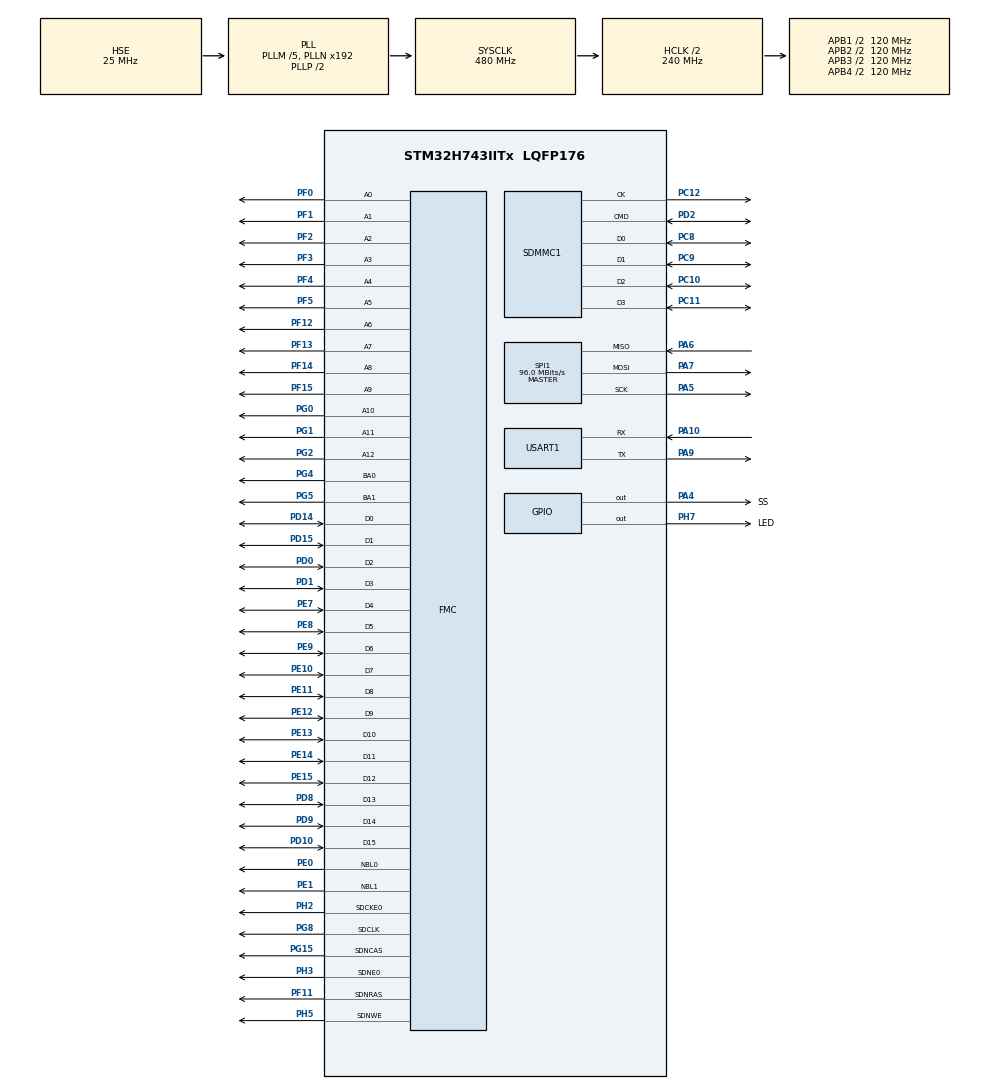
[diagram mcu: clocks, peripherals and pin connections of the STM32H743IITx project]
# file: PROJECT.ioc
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CORTEX_M7.CPU_DCache=Enabled
CORTEX_M7.CPU_ICache=Enabled
CORTEX_M7.MPU_Control=MPU_PRIVILEGED_DEFAULT
Dma.Request0=USART1_RX
Dma.Request1=USART1_TX
Dma.Request2=SPI1_RX
Dma.Request3=SPI1_TX
Dma.SPI1_RX.2.Direction=DMA_PERIPH_TO_MEMORY
Dma.SPI1_RX.2.EventEnable=DISABLE
Dma.SPI1_RX.2.FIFOMode=DMA_FIFOMODE_DISABLE
Dma.SPI1_RX.2.Instance=DMA1_Stream2
Dma.SPI1_RX.2.MemDataAlignment=DMA_MDATAALIGN_BYTE
Dma.SPI1_RX.2.MemInc=DMA_MINC_ENABLE
Dma.SPI1_RX.2.Mode=DMA_NORMAL
Dma.SPI1_RX.2.PeriphDataAlignment=DMA_PDATAALIGN_BYTE
Dma.SPI1_RX.2.PeriphInc=DMA_PINC_DISABLE
Dma.SPI1_RX.2.Polarity=HAL_DMAMUX_REQ_GEN_RISING
Dma.SPI1_RX.2.Priority=DMA_PRIORITY_LOW
Dma.SPI1_RX.2.RequestNumber=1
Dma.SPI1_RX.2.SignalID=NONE
Dma.SPI1_RX.2.SyncEnable=DISABLE
Dma.SPI1_RX.2.SyncPolarity=HAL_DMAMUX_SYNC_NO_EVENT
Dma.SPI1_RX.2.SyncRequestNumber=1
Dma.SPI1_RX.2.SyncSignalID=NONE
Dma.SPI1_TX.3.Direction=DMA_MEMORY_TO_PERIPH
Dma.SPI1_TX.3.EventEnable=DISABLE
Dma.SPI1_TX.3.FIFOMode=DMA_FIFOMODE_DISABLE
Dma.SPI1_TX.3.Instance=DMA1_Stream3
Dma.SPI1_TX.3.MemDataAlignment=DMA_MDATAALIGN_BYTE
Dma.SPI1_TX.3.MemInc=DMA_MINC_ENABLE
Dma.SPI1_TX.3.Mode=DMA_NORMAL
Dma.SPI1_TX.3.PeriphDataAlignment=DMA_PDATAALIGN_BYTE
Dma.SPI1_TX.3.PeriphInc=DMA_PINC_DISABLE
Dma.SPI1_TX.3.Polarity=HAL_DMAMUX_REQ_GEN_RISING
Dma.SPI1_TX.3.Priority=DMA_PRIORITY_LOW
Dma.SPI1_TX.3.RequestNumber=1
Dma.SPI1_TX.3.SignalID=NONE
Dma.SPI1_TX.3.SyncEnable=DISABLE
Dma.SPI1_TX.3.SyncPolarity=HAL_DMAMUX_SYNC_NO_EVENT
Dma.SPI1_TX.3.SyncRequestNumber=1
Dma.SPI1_TX.3.SyncSignalID=NONE
Dma.USART1_RX.0.Direction=DMA_PERIPH_TO_MEMORY
Dma.USART1_RX.0.EventEnable=DISABLE
Dma.USART1_RX.0.FIFOMode=DMA_FIFOMODE_DISABLE
Dma.USART1_RX.0.Instance=DMA1_Stream0
Dma.USART1_RX.0.MemDataAlignment=DMA_MDATAALIGN_BYTE
Dma.USART1_RX.0.MemInc=DMA_MINC_ENABLE
Dma.USART1_RX.0.Mode=DMA_NORMAL
Dma.USART1_RX.0.PeriphDataAlignment=DMA_PDATAALIGN_BYTE
Dma.USART1_RX.0.PeriphInc=DMA_PINC_DISABLE
Dma.USART1_RX.0.Polarity=HAL_DMAMUX_REQ_GEN_RISING
Dma.USART1_RX.0.Priority=DMA_PRIORITY_LOW
Dma.USART1_RX.0.RequestNumber=1
Dma.USART1_RX.0.SignalID=NONE
Dma.USART1_RX.0.SyncEnable=DISABLE
Dma.USART1_RX.0.SyncPolarity=HAL_DMAMUX_SYNC_NO_EVENT
Dma.USART1_RX.0.SyncRequestNumber=1
Dma.USART1_RX.0.SyncSignalID=NONE
Dma.USART1_TX.1.Direction=DMA_MEMORY_TO_PERIPH
Dma.USART1_TX.1.EventEnable=DISABLE
Dma.USART1_TX.1.FIFOMode=DMA_FIFOMODE_DISABLE
Dma.USART1_TX.1.Instance=DMA1_Stream1
Dma.USART1_TX.1.MemDataAlignment=DMA_MDATAALIGN_BYTE
Dma.USART1_TX.1.MemInc=DMA_MINC_ENABLE
Dma.USART1_TX.1.Mode=DMA_NORMAL
Dma.USART1_TX.1.PeriphDataAlignment=DMA_PDATAALIGN_BYTE
Dma.USART1_TX.1.PeriphInc=DMA_PINC_DISABLE
Dma.USART1_TX.1.Polarity=HAL_DMAMUX_REQ_GEN_RISING
Dma.USART1_TX.1.Priority=DMA_PRIORITY_LOW
Dma.USART1_TX.1.RequestNumber=1
Dma.USART1_TX.1.SignalID=NONE
Dma.USART1_TX.1.SyncEnable=DISABLE
Dma.USART1_TX.1.SyncPolarity=HAL_DMAMUX_SYNC_NO_EVENT
Dma.USART1_TX.1.SyncRequestNumber=1
Dma.USART1_TX.1.SyncSignalID=NONE
FATFS.USE_DMA_CODE_SD=1
FATFS._CODE_PAGE=437
FATFS._USE_LFN=2
FMC.CASLatency1=FMC_SDRAM_CAS_LATENCY_3
FMC.ColumnBitsNumber1=FMC_SDRAM_COLUMN_BITS_NUM_9
FMC.ExitSelfRefreshDelay1=9
FMC.LoadToActiveDelay1=1
FMC.RCDDelay1=3
FMC.RPDelay1=3
FMC.ReadBurst1=FMC_SDRAM_RBURST_ENABLE
FMC.RowCycleDelay1=8
FMC.SDClockPeriod1=FMC_SDRAM_CLOCK_PERIOD_2
FMC.SelfRefreshTime1=6
FMC.WriteRecoveryTime1=3
Mcu.Family=STM32H7
Mcu.Name=STM32H743IITx
Mcu.Package=LQFP176
Mdma.MDMA_Channel0.Request0=SDMMC1_END_DATA
Mdma.MDMA_Channel0.RequestsNb=1
Mdma.MDMA_Channel0.SDMMC1_END_DATA.0.BlockCount=0
Mdma.MDMA_Channel0.SDMMC1_END_DATA.0.BlockDataLength=0
Mdma.MDMA_Channel0.SDMMC1_END_DATA.0.BufferTransferLength=1
Mdma.MDMA_Channel0.SDMMC1_END_DATA.0.CircularMode=MDMA_LINEAR_LIST
Mdma.MDMA_Channel0.SDMMC1_END_DATA.0.DataAlignment=MDMA_DATAALIGN_PACKENABLE
Mdma.MDMA_Channel0.SDMMC1_END_DATA.0.DestBlockAddressOffset=0
Mdma.MDMA_Channel0.SDMMC1_END_DATA.0.DestBurst=MDMA_DEST_BURST_SINGLE
Mdma.MDMA_Channel0.SDMMC1_END_DATA.0.DestDataSize=MDMA_DEST_DATASIZE_BYTE
Mdma.MDMA_Channel0.SDMMC1_END_DATA.0.DestinationInc=MDMA_DEST_INC_BYTE
Mdma.MDMA_Channel0.SDMMC1_END_DATA.0.DstAddress=0
Mdma.MDMA_Channel0.SDMMC1_END_DATA.0.Endianness=MDMA_LITTLE_ENDIANNESS_PRESERVE
Mdma.MDMA_Channel0.SDMMC1_END_DATA.0.Instance=MDMA_Channel0
Mdma.MDMA_Channel0.SDMMC1_END_DATA.0.MaskAddress=0
Mdma.MDMA_Channel0.SDMMC1_END_DATA.0.MaskData=0
Mdma.MDMA_Channel0.SDMMC1_END_DATA.0.Priority=MDMA_PRIORITY_LOW
Mdma.MDMA_Channel0.SDMMC1_END_DATA.0.Rank=First
Mdma.MDMA_Channel0.SDMMC1_END_DATA.0.SourceBlockAddressOffset=0
Mdma.MDMA_Channel0.SDMMC1_END_DATA.0.SourceBurst=MDMA_SOURCE_BURST_SINGLE
Mdma.MDMA_Channel0.SDMMC1_END_DATA.0.SourceDataSize=MDMA_SRC_DATASIZE_BYTE
Mdma.MDMA_Channel0.SDMMC1_END_DATA.0.SourceInc=MDMA_SRC_INC_BYTE
Mdma.MDMA_Channel0.SDMMC1_END_DATA.0.SrcAddress=0
Mdma.MDMA_Channel0.SDMMC1_END_DATA.0.TransferTriggerMode=MDMA_BUFFER_TRANSFER
Mdma.RequestSet0=MDMA_Channel0
Mdma.RequestSetsNb=1
NVIC.DMA1_Stream0_IRQn=true\:0\:0\:false\:false\:true\:false\:true\:true
NVIC.DMA1_Stream1_IRQn=true\:0\:0\:false\:false\:true\:false\:true\:true
NVIC.DMA1_Stream2_IRQn=true\:0\:0\:false\:false\:true\:false\:true\:true
NVIC.DMA1_Stream3_IRQn=true\:0\:0\:false\:false\:true\:false\:true\:true
NVIC.MDMA_IRQn=true\:0\:0\:false\:false\:true\:true\:true\:true
NVIC.PriorityGroup=NVIC_PRIORITYGROUP_4
NVIC.SDMMC1_IRQn=true\:0\:0\:false\:false\:true\:true\:true\:true
NVIC.SPI1_IRQn=true\:0\:0\:false\:false\:true\:false\:true\:true
NVIC.USART1_IRQn=true\:0\:0\:false\:false\:true\:true\:true\:true
PA10.Mode=Asynchronous
PA10.Signal=USART1_RX
PA13\ (JTMS/SWDIO).Mode=Serial_Wire
PA13\ (JTMS/SWDIO).Signal=DEBUG_JTMS-SWDIO
PA14\ (JTCK/SWCLK).Mode=Serial_Wire
PA14\ (JTCK/SWCLK).Signal=DEBUG_JTCK-SWCLK
PA4.GPIO_Label=SS
PA4.Signal=GPIO_Output
PA5.GPIO_Speed=GPIO_SPEED_FREQ_VERY_HIGH
PA5.Mode=Full_Duplex_Master
PA5.Signal=SPI1_SCK
PA6.GPIO_Speed=GPIO_SPEED_FREQ_VERY_HIGH
PA6.Mode=Full_Duplex_Master
PA6.Signal=SPI1_MISO
PA7.GPIO_Speed=GPIO_SPEED_FREQ_VERY_HIGH
PA7.Mode=Full_Duplex_Master
PA7.Signal=SPI1_MOSI
PA9.Mode=Asynchronous
PA9.Signal=USART1_TX
PC10.Mode=SD_4_bits_Wide_bus
PC10.Signal=SDMMC1_D2
PC11.Mode=SD_4_bits_Wide_bus
PC11.Signal=SDMMC1_D3
PC12.Mode=SD_4_bits_Wide_bus
PC12.Signal=SDMMC1_CK
PC14-OSC32_IN\ (OSC32_IN).Mode=LSE-External-Oscillator
PC14-OSC32_IN\ (OSC32_IN).Signal=RCC_OSC32_IN
PC15-OSC32_OUT\ (OSC32_OUT).Mode=LSE-External-Oscillator
PC15-OSC32_OUT\ (OSC32_OUT).Signal=RCC_OSC32_OUT
PC8.Mode=SD_4_bits_Wide_bus
PC8.Signal=SDMMC1_D0
PC9.Mode=SD_4_bits_Wide_bus
PC9.Signal=SDMMC1_D1
PD0.Signal=FMC_D2_DA2
PD1.Signal=FMC_D3_DA3
PD10.Signal=FMC_D15_DA15
PD14.Signal=FMC_D0_DA0
PD15.Signal=FMC_D1_DA1
PD2.Mode=SD_4_bits_Wide_bus
PD2.Signal=SDMMC1_CMD
PD8.Signal=FMC_D13_DA13
PD9.Signal=FMC_D14_DA14
PE0.Signal=FMC_NBL0
PE1.Signal=FMC_NBL1
PE10.Signal=FMC_D7_DA7
PE11.Signal=FMC_D8_DA8
PE12.Signal=FMC_D9_DA9
PE13.Signal=FMC_D10_DA10
PE14.Signal=FMC_D11_DA11
PE15.Signal=FMC_D12_DA12
PE7.Signal=FMC_D4_DA4
PE8.Signal=FMC_D5_DA5
PE9.Signal=FMC_D6_DA6
PF0.Signal=FMC_A0
PF1.Signal=FMC_A1
PF11.Signal=FMC_SDNRAS
PF12.Signal=FMC_A6
PF13.Signal=FMC_A7
PF14.Signal=FMC_A8
PF15.Signal=FMC_A9
PF2.Signal=FMC_A2
PF3.Signal=FMC_A3
PF4.Signal=FMC_A4
PF5.Signal=FMC_A5
PG0.Signal=FMC_A10
PG1.Signal=FMC_A11
PG15.Signal=FMC_SDNCAS
PG2.Signal=FMC_A12
PG4.Signal=FMC_A14_BA0
PG5.Signal=FMC_A15_BA1
PG8.Signal=FMC_SDCLK
PH0-OSC_IN\ (PH0).Mode=HSE-External-Oscillator
PH0-OSC_IN\ (PH0).Signal=RCC_OSC_IN
PH1-OSC_OUT\ (PH1).Mode=HSE-External-Oscillator
PH1-OSC_OUT\ (PH1).Signal=RCC_OSC_OUT
PH2.Mode=SdramChipSelect1_1
PH2.Signal=FMC_SDCKE0
PH3.Mode=SdramChipSelect1_1
PH3.Signal=FMC_SDNE0
PH5.Signal=FMC_SDNWE
PH7.GPIO_Label=LED
PH7.GPIO_PuPd=GPIO_PULLUP
PH7.GPIO_Speed=GPIO_SPEED_FREQ_HIGH
PH7.Signal=GPIO_Output
ProjectManager.HeapSize=0x2000
ProjectManager.StackSize=0x2000
ProjectManager.TargetToolchain=MDK-ARM V5.32
RCC.ADCFreq_Value=50390625
RCC.APB1Freq_Value=120000000
RCC.APB2Freq_Value=120000000
RCC.APB3Freq_Value=120000000
RCC.APB4Freq_Value=120000000
RCC.CortexFreq_Value=480000000
RCC.D1PPRE=RCC_APB3_DIV2
RCC.D2PPRE1=RCC_APB1_DIV2
RCC.D2PPRE2=RCC_APB2_DIV2
RCC.D3PPRE=RCC_APB4_DIV2
RCC.DIVM1=5
RCC.DIVN1=192
RCC.DIVQ1=5
RCC.HCLKFreq_Value=240000000
RCC.HPRE=RCC_HCLK_DIV2
RCC.PLL2FRACN=0
RCC.PLL3FRACN=0
RCC.PLLFRACN=0
RCC.PLLSourceVirtual=RCC_PLLSOURCE_HSE
RCC.SYSCLKFreq_VALUE=480000000
RCC.SYSCLKSource=RCC_SYSCLKSOURCE_PLLCLK
RCC.USBFreq_Value=192000000
SDMMC1.ClockDiv=2
SH.FMC_A0.0=FMC_A0,13b-sda1
SH.FMC_A1.0=FMC_A1,13b-sda1
SH.FMC_A10.0=FMC_A10,13b-sda1
SH.FMC_A11.0=FMC_A11,13b-sda1
SH.FMC_A12.0=FMC_A12,13b-sda1
SH.FMC_A14_BA0.0=FMC_BA0,FourSdramBanks1
SH.FMC_A15_BA1.0=FMC_BA1,FourSdramBanks1
SH.FMC_A2.0=FMC_A2,13b-sda1
SH.FMC_A3.0=FMC_A3,13b-sda1
SH.FMC_A4.0=FMC_A4,13b-sda1
SH.FMC_A5.0=FMC_A5,13b-sda1
SH.FMC_A6.0=FMC_A6,13b-sda1
SH.FMC_A7.0=FMC_A7,13b-sda1
SH.FMC_A8.0=FMC_A8,13b-sda1
SH.FMC_A9.0=FMC_A9,13b-sda1
SH.FMC_D0_DA0.0=FMC_D0,sd-16b-d1
SH.FMC_D10_DA10.0=FMC_D10,sd-16b-d1
SH.FMC_D11_DA11.0=FMC_D11,sd-16b-d1
SH.FMC_D12_DA12.0=FMC_D12,sd-16b-d1
SH.FMC_D13_DA13.0=FMC_D13,sd-16b-d1
SH.FMC_D14_DA14.0=FMC_D14,sd-16b-d1
SH.FMC_D15_DA15.0=FMC_D15,sd-16b-d1
SH.FMC_D1_DA1.0=FMC_D1,sd-16b-d1
SH.FMC_D2_DA2.0=FMC_D2,sd-16b-d1
SH.FMC_D3_DA3.0=FMC_D3,sd-16b-d1
SH.FMC_D4_DA4.0=FMC_D4,sd-16b-d1
SH.FMC_D5_DA5.0=FMC_D5,sd-16b-d1
SH.FMC_D6_DA6.0=FMC_D6,sd-16b-d1
SH.FMC_D7_DA7.0=FMC_D7,sd-16b-d1
SH.FMC_D8_DA8.0=FMC_D8,sd-16b-d1
SH.FMC_D9_DA9.0=FMC_D9,sd-16b-d1
SH.FMC_NBL0.0=FMC_NBL0,Sd2ByteEnable1
SH.FMC_NBL1.0=FMC_NBL1,Sd2ByteEnable1
SH.FMC_SDCLK.0=FMC_SDCLK,13b-sda1
SH.FMC_SDNCAS.0=FMC_SDNCAS,13b-sda1
SH.FMC_SDNRAS.0=FMC_SDNRAS,13b-sda1
SH.FMC_SDNWE.0=FMC_SDNWE,13b-sda1
SPI1.CalculateBaudRate=96.0 MBits/s
SPI1.DataSize=SPI_DATASIZE_8BIT
SPI1.Direction=SPI_DIRECTION_2LINES
SPI1.Mode=SPI_MODE_MASTER
SPI1.VirtualType=VM_MASTER
USART1.VirtualMode-Asynchronous=VM_ASYNC
VP_FATFS_VS_SDIO.Mode=SDIO
VP_RTC_VS_RTC_Activate.Mode=RTC_Enabled
VP_RTC_VS_RTC_Calendar.Mode=RTC_Calendar
board=custom

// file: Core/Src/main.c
/* USER CODE BEGIN Header */
/**
 ******************************************************************************
 * @file           : main.c
 * @brief          : Main program body
 ******************************************************************************
 * @attention
 *
 * Copyright (c) 2024 STMicroelectronics.
 * All rights reserved.
 *
 * This software is licensed under terms that can be found in the LICENSE file
 * in the root directory of this software component.
 * If no LICENSE file comes with this software, it is provided AS-IS.
 *
 ******************************************************************************
 */
/* USER CODE END Header */
#include "main.h"
#include "dma.h"
#include "fatfs.h"
#include "mdma.h"
#include "rtc.h"
#include "sdmmc.h"
#include "spi.h"
#include "usart.h"
#include "gpio.h"
#include "fmc.h"

/* USER CODE BEGIN Includes */
#include "bsp_init.h"
#include "ADXL362.h"
#include <stdlib.h>

/* USER CODE END Includes */

/* USER CODE BEGIN PD */
#define UART_TX_BUFFER_SIZE  7
/* USER CODE END PD */

/* USER CODE BEGIN PV */
extern SPI_HandleTypeDef hspi1;
extern DMA_HandleTypeDef hdma_spi1_rx;
extern DMA_HandleTypeDef hdma_spi1_tx;

/// Flag indicating successful data transmission via SPI (transmission complete). Declared in the file ADXL362.c
extern bool spiTxComplete;
/// Flag indicating successful data reception via SPI (reception complete). Declared in the file ADXL362.c
extern bool spiRxComplete;

/// XDATA buffer for transmission via UART
uint8_t xBuff[UART_TX_BUFFER_SIZE] = "X: ";
/// YDATA buffer for transmission via UART
uint8_t yBuff[UART_TX_BUFFER_SIZE] = "Y: ";
/// ZDATA buffer for transmission via UART
uint8_t zBuff[UART_TX_BUFFER_SIZE] = "Z: ";
/// Final buffer for transmission via UART, containing data from xBuff, yBuff, and zBuff
uint8_t txBuff[UART_TX_BUFFER_SIZE * 3 + 2];
/// Index of the data transmission buffer for UART
uint8_t index_b = 0;

/* USER CODE END PV */

void SystemClock_Config(void);
static void MPU_Config(void);

/* USER CODE BEGIN 0 */
/**
 * @brief      Board functionality test
 *
 */
void ping() {
  HAL_GPIO_WritePin(GPIOB, GPIO_PIN_7, GPIO_PIN_SET);
  HAL_Delay(100);
  HAL_GPIO_WritePin(GPIOB, GPIO_PIN_7, GPIO_PIN_RESET);
  HAL_Delay(100);
}

/* USER CODE END 0 */

int main(void)
{

  /* MPU Configuration--------------------------------------------------------*/
  MPU_Config();
/* Enable the CPU Cache */

  /* Enable I-Cache---------------------------------------------------------*/
  SCB_EnableICache();

  /* Enable D-Cache---------------------------------------------------------*/
  SCB_EnableDCache();

  /* MCU Configuration--------------------------------------------------------*/

  /* Reset of all peripherals, Initializes the Flash interface and the Systick. */
  HAL_Init();

  /* Configure the system clock */
  SystemClock_Config();

  /* Initialize all configured peripherals */
  MX_GPIO_Init();
  MX_MDMA_Init();
  MX_DMA_Init();
  MX_USART1_UART_Init();
  MX_SDMMC1_SD_Init();
  MX_FATFS_Init();
  MX_FMC_Init();
  MX_RTC_Init();
  MX_SPI1_Init();
  /* USER CODE BEGIN 2 */
  BSP_Init();

  printf("ADXL362 TEST.\n\r");

  ADXL362_Init(&hspi1, &hdma_spi1_rx, &hdma_spi1_tx); // Initialization of the ADXL362 accelerometer

  printf("ADXL362 initialization complete.\n\r");

  ping();
  ping();

  // Declaration and initialization of variables for storing accelerometer data
  //uint16_t uint16x = 0, uint16y = 0, uint16z = 0;
  uint8_t uint8x = 0, uint8y = 0, uint8z = 0;
  uint8_t uint8x1 = 0, uint8y1 = 0, uint8z1 = 0;
  int8_t delta = 0;
  uint8_t flag_xyz;

  /* USER CODE END 2 */

  /* Infinite loop */
  /* USER CODE BEGIN WHILE */
  while (1)
  {
    LED_Toggle();
    HAL_Delay(1000);
    printf("LED toggled.\n\r");

    // Reading data from the ADXL362 registers
    ADXL362_ReadXYZ_8(&uint8x, &uint8y, &uint8z);

    // Printing the data to the console
    printf("X: %d, Y: %d, Z: %d\n\r", uint8x, uint8y, uint8z);

    /* USER CODE END WHILE */

  }
}

void SystemClock_Config(void)
{
  RCC_OscInitTypeDef RCC_OscInitStruct = {0};
  RCC_ClkInitTypeDef RCC_ClkInitStruct = {0};

  /** Supply configuration update enable
  */
  HAL_PWREx_ConfigSupply(PWR_LDO_SUPPLY);

  /** Configure the main internal regulator output voltage
  */
  __HAL_PWR_VOLTAGESCALING_CONFIG(PWR_REGULATOR_VOLTAGE_SCALE1);

  while(!__HAL_PWR_GET_FLAG(PWR_FLAG_VOSRDY)) {}

  __HAL_RCC_SYSCFG_CLK_ENABLE();
  __HAL_PWR_VOLTAGESCALING_CONFIG(PWR_REGULATOR_VOLTAGE_SCALE0);

  while(!__HAL_PWR_GET_FLAG(PWR_FLAG_VOSRDY)) {}

  /** Initializes the RCC Oscillators according to the specified parameters
  * in the RCC_OscInitTypeDef structure.
  */
  RCC_OscInitStruct.OscillatorType = RCC_OSCILLATORTYPE_LSI|RCC_OSCILLATORTYPE_HSE;
  RCC_OscInitStruct.HSEState = RCC_HSE_ON;
  RCC_OscInitStruct.LSIState = RCC_LSI_ON;
  RCC_OscInitStruct.PLL.PLLState = RCC_PLL_ON;
  RCC_OscInitStruct.PLL.PLLSource = RCC_PLLSOURCE_HSE;
  RCC_OscInitStruct.PLL.PLLM = 5;
  RCC_OscInitStruct.PLL.PLLN = 192;
  RCC_OscInitStruct.PLL.PLLP = 2;
  RCC_OscInitStruct.PLL.PLLQ = 5;
  RCC_OscInitStruct.PLL.PLLR = 2;
  RCC_OscInitStruct.PLL.PLLRGE = RCC_PLL1VCIRANGE_2;
  RCC_OscInitStruct.PLL.PLLVCOSEL = RCC_PLL1VCOWIDE;
  RCC_OscInitStruct.PLL.PLLFRACN = 0;
  if (HAL_RCC_OscConfig(&RCC_OscInitStruct) != HAL_OK)
  {
    Error_Handler();
  }

  /** Initializes the CPU, AHB and APB buses clocks
  */
  RCC_ClkInitStruct.ClockType = RCC_CLOCKTYPE_HCLK|RCC_CLOCKTYPE_SYSCLK
                              |RCC_CLOCKTYPE_PCLK1|RCC_CLOCKTYPE_PCLK2
                              |RCC_CLOCKTYPE_D3PCLK1|RCC_CLOCKTYPE_D1PCLK1;
  RCC_ClkInitStruct.SYSCLKSource = RCC_SYSCLKSOURCE_PLLCLK;
  RCC_ClkInitStruct.SYSCLKDivider = RCC_SYSCLK_DIV1;
  RCC_ClkInitStruct.AHBCLKDivider = RCC_HCLK_DIV2;
  RCC_ClkInitStruct.APB3CLKDivider = RCC_APB3_DIV2;
  RCC_ClkInitStruct.APB1CLKDivider = RCC_APB1_DIV2;
  RCC_ClkInitStruct.APB2CLKDivider = RCC_APB2_DIV2;
  RCC_ClkInitStruct.APB4CLKDivider = RCC_APB4_DIV2;

  if (HAL_RCC_ClockConfig(&RCC_ClkInitStruct, FLASH_LATENCY_4) != HAL_OK)
  {
    Error_Handler();
  }
}

/* MPU Configuration */

void MPU_Config(void)
{

  /* Disables the MPU */
  HAL_MPU_Disable();
  /* Enables the MPU */
  HAL_MPU_Enable(MPU_PRIVILEGED_DEFAULT);

}

void Error_Handler(void)
{
  __disable_irq();
  while (1)
  {
  }
}
